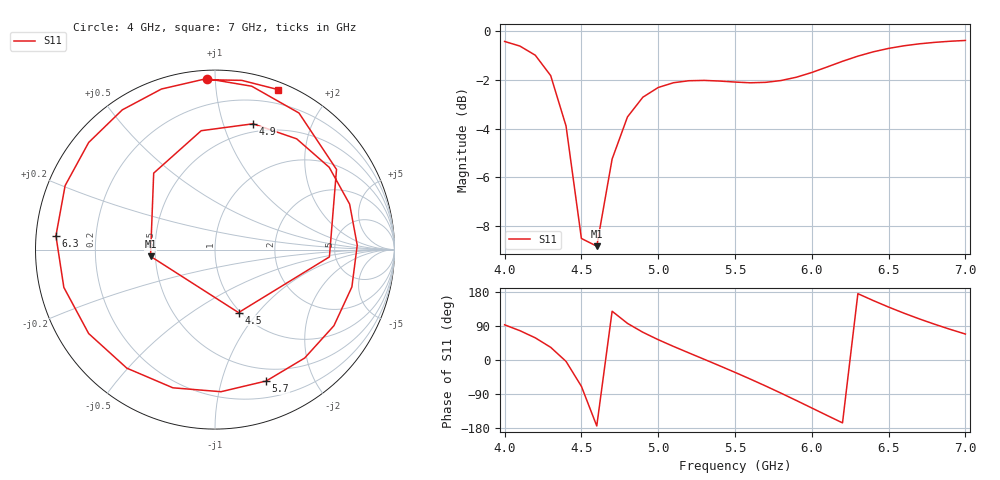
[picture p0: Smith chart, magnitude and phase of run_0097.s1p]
! Touchstone file exported from HFSS 2024.2.0
!  File:  C:/Users/wsak9/Desktop/Sim Fast/Widenad Patch/WP_AI_V1_sweep.aedt
!  Generated:  06:56:51 PM Oct 13, 2026
!  Design:  A1_model
!  Project:  WP_AI_V1_sweep
!  Setup:  Setup1
!  Solution:  Sweep
! Variables:
!  Air_gap = 3.63mm
!  Curve_Amp1 = 0.63
!  Curve_len1 = 1
!  Curve_pos = 12.325mm
!  Extra = 5.35mm
!  H_sub = 0.79mm
!  L_Patch = 20.65mm
!  L_Patch1 = 14.2mm
!  Sx = 4.91mm
!  Sy = 1.37mm
!  WS = 0.49mm
!  W_Patch = 16.4mm
!  W_Patch1 = 8.85mm
!Data is not renormalized
# GHz S MA
! Terminal data exported
! Port[1] = 1
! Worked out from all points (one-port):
!   31 points, 4 GHz to 7 GHz, reference per port
!   lowest |S11| = -8.8 dB at 4.6 GHz (marker M1), VSWR 2.13
!   |S11| at or under -10 dB: nowhere
!   S11 on the Smith chart (normalised r, x): 4 GHz: 0.05, +0.95; 4.5 GHz: 0.98, -0.80; 4.9 GHz: 0.42, +1.26; 5.7 GHz: 0.37, -1.40; 6.3 GHz: 0.06, +0.04; 7 GHz: 0.07, +1.47
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4  0.9538 92.8
4.1  0.933 77.3
4.2  0.8933 58.4
4.3  0.8111 33.4
4.4  0.6387 -3.7
4.5  0.3747 -69.5
4.6  0.3613 -174.1
4.7  0.5461 128.7
4.8  0.6668 96.6
4.9  0.7321 73.2
5  0.7667 53.6
5.1  0.7843 35.8
5.2  0.7917 18.7
5.3  0.7929 1.8
5.4  0.7905 -15.3
5.5  0.7867 -32.6
5.7  0.7856 -68.7
5.8  0.7924 -87.6
5.9  0.805 -107.0
6  0.8232 -126.6
6.1  0.8451 -146.4
6.2  0.8681 -166.0
6.3  0.8896 175.1
6.4  0.908 156.9
6.5  0.9228 139.7
6.7  0.9431 108.5
6.8  0.9497 94.3
7  0.9583 68.5
